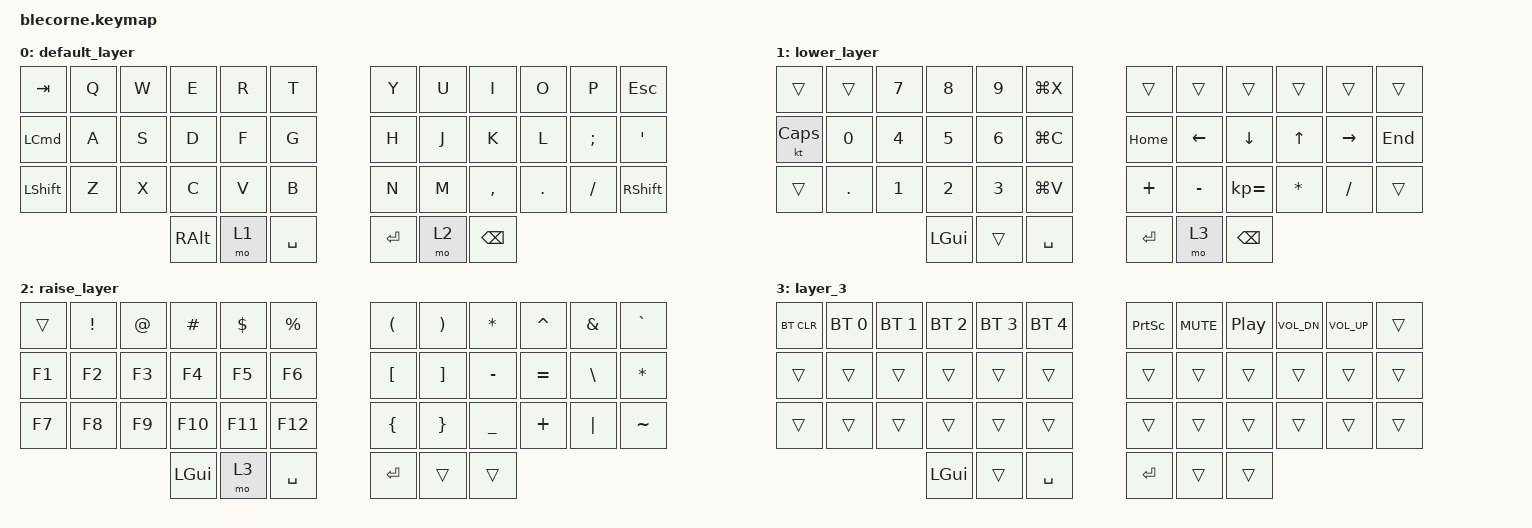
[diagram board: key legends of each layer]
/*
 * Copyright (c) 2020 The ZMK Contributors
 * SPDX-License-Identifier: MIT
 */

#include <behaviors.dtsi>
#include <dt-bindings/zmk/bt.h>
#include <dt-bindings/zmk/keys.h>

/ {
    chosen {
        zmk,physical-layout = &foostan_corne_6col_layout;

        // zmk,physical-layout = &foostan_corne_5col_layout;
    };
};

/ {
    keymap {
        compatible = "zmk,keymap";

        default_layer {
            bindings = <
&kp TAB           &kp Q  &kp W  &kp E          &kp R  &kp T        &kp Y    &kp U  &kp I          &kp O    &kp P     &kp ESCAPE
&kp LEFT_COMMAND  &kp A  &kp S  &kp D          &kp F  &kp G        &kp H    &kp J  &kp K          &kp L    &kp SEMI  &kp SQT
&kp LSHFT         &kp Z  &kp X  &kp C          &kp V  &kp B        &kp N    &kp M  &kp COMMA      &kp DOT  &kp FSLH  &kp RIGHT_SHIFT
                                &kp RIGHT_ALT  &mo 1  &kp SPACE    &kp RET  &mo 2  &kp BACKSPACE
            >;
        };

        lower_layer {
            bindings = <
&trans        &trans   &kp N7  &kp N8    &kp N9  &kp LG(X)    &trans    &trans     &trans          &trans        &trans     &trans
&kt CAPSLOCK  &kp N0   &kp N4  &kp N5    &kp N6  &kp LG(C)    &kp HOME  &kp LEFT   &kp DOWN_ARROW  &kp UP_ARROW  &kp RIGHT  &kp END
&trans        &kp DOT  &kp N1  &kp N2    &kp N3  &kp LG(V)    &kp PLUS  &kp MINUS  &kp KP_EQUAL    &kp STAR      &kp SLASH  &trans
                               &kp LGUI  &trans  &kp SPACE    &kp RET   &mo 3      &kp BACKSPACE
            >;
        };

        raise_layer {
            bindings = <
&trans  &kp EXCL  &kp AT  &kp HASH  &kp DLLR  &kp PRCNT    &kp LEFT_PARENTHESIS  &kp RIGHT_PARENTHESIS  &kp ASTRK  &kp CARET  &kp AMPERSAND  &kp GRAVE
&kp F1  &kp F2    &kp F3  &kp F4    &kp F5    &kp F6       &kp LEFT_BRACKET      &kp RIGHT_BRACKET      &kp MINUS  &kp EQUAL  &kp BSLH       &kp STAR
&kp F7  &kp F8    &kp F9  &kp F10   &kp F11   &kp F12      &kp LEFT_BRACE        &kp RIGHT_BRACE        &kp UNDER  &kp PLUS   &kp PIPE       &kp TILDE
                          &kp LGUI  &mo 3     &kp SPACE    &kp RET               &trans                 &trans
            >;
        };

        layer_3 {
            bindings = <
&bt BT_CLR  &bt BT_SEL 0  &bt BT_SEL 1  &bt BT_SEL 2  &bt BT_SEL 3  &bt BT_SEL 4    &kp PRINTSCREEN  &kp K_MUTE  &kp C_PLAY_PAUSE  &kp C_VOL_DN  &kp C_VOLUME_UP  &trans
&trans      &trans        &trans        &trans        &trans        &trans          &trans           &trans      &trans            &trans        &trans           &trans
&trans      &trans        &trans        &trans        &trans        &trans          &trans           &trans      &trans            &trans        &trans           &trans
                                        &kp LGUI      &trans        &kp SPACE       &kp RET          &trans      &trans
            >;
        };
    };
};
